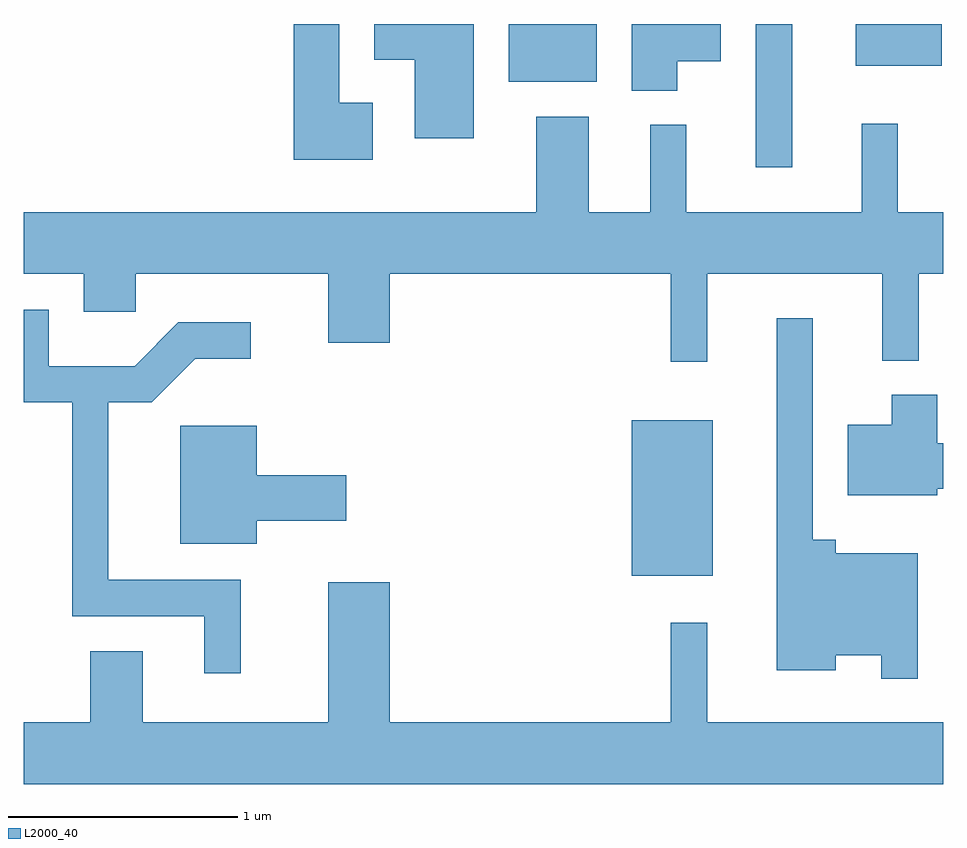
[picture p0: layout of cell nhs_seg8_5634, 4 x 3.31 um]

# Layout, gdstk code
import gdstk
lib = gdstk.Library(unit=1e-6, precision=1e-09)
def R(c, l, rs):  # rectangles x0, y0, x1, y1
    for r in rs: c.add(gdstk.rectangle(r[:2], r[2:], *l))
def P(c, l, *ps):  # polygons
    for p in ps: c.add(gdstk.Polygon(p, *l))
L2000_40 = (2000, 40)

nhs_seg8_5634 = lib.new_cell('nhs_seg8_5634')
R(nhs_seg8_5634, L2000_40, [(356.256,1883.941,356.609,1884.619), (356.796,1885.718,356.954,1886.342), (355.721,1886.091,356.104,1886.342), (357.231,1886.161,357.604,1886.342)])
P(nhs_seg8_5634, L2000_40, [(356.454,1886.181),(356.644,1886.181),(356.644,1886.342),(356.256,1886.342),(356.256,1886.051),(356.454,1886.051)],
  [(355.129,1885.999),(354.984,1885.999),(354.984,1886.342),(354.786,1886.342),(354.786,1885.751),(355.129,1885.751)],
  [(355.569,1886.342),(355.136,1886.342),(355.136,1886.186),(355.311,1886.186),(355.311,1885.846),(355.569,1885.846)],
  [(356.584,1885.256),(357.346,1885.256),(357.346,1884.878),(357.504,1884.878),(357.504,1885.256),(357.611,1885.256),(357.611,1885.524),(357.414,1885.524),(357.414,1885.908),(357.256,1885.908),(357.256,1885.524),(356.494,1885.524),(356.494,1885.903),(356.336,1885.903),(356.336,1885.524),(356.069,1885.524),(356.069,1885.939),(355.841,1885.939),(355.841,1885.524),(353.611,1885.524),(353.611,1885.256),(353.871,1885.256),(353.871,1885.091),(354.099,1885.091),(354.099,1885.256),(354.936,1885.256),(354.936,1884.956),(355.204,1884.956),(355.204,1885.256),(356.426,1885.256),(356.426,1884.873),(356.584,1884.873)],
  [(354.554,1883.924),(353.979,1883.924),(353.979,1884.696),(354.167,1884.696),(354.357,1884.886),(354.598,1884.886),(354.598,1885.044),(354.284,1885.044),(354.094,1884.854),(353.719,1884.854),(353.719,1885.099),(353.611,1885.099),(353.611,1884.696),(353.821,1884.696),(353.821,1883.766),(354.396,1883.766),(354.396,1883.518),(354.554,1883.518)],
  [(357.499,1884.039),(357.144,1884.039),(357.144,1884.099),(357.044,1884.099),(357.044,1885.063),(356.886,1885.063),(356.886,1883.531),(357.144,1883.531),(357.144,1883.596),(357.341,1883.596),(357.341,1883.493),(357.499,1883.493)],
  [(357.584,1884.321),(357.611,1884.321),(357.611,1884.519),(357.584,1884.519),(357.584,1884.729),(357.386,1884.729),(357.386,1884.599),(357.196,1884.599),(357.196,1884.291),(357.584,1884.291)],
  [(354.624,1884.181),(355.014,1884.181),(355.014,1884.379),(354.624,1884.379),(354.624,1884.594),(354.291,1884.594),(354.291,1884.081),(354.624,1884.081)],
  [(357.611,1883.304),(356.584,1883.304),(356.584,1883.738),(356.426,1883.738),(356.426,1883.304),(355.204,1883.304),(355.204,1883.914),(354.936,1883.914),(354.936,1883.304),(354.129,1883.304),(354.129,1883.614),(353.901,1883.614),(353.901,1883.304),(353.611,1883.304),(353.611,1883.036),(357.611,1883.036)])

lib.write_gds('nhs_seg8_5634.gds')
